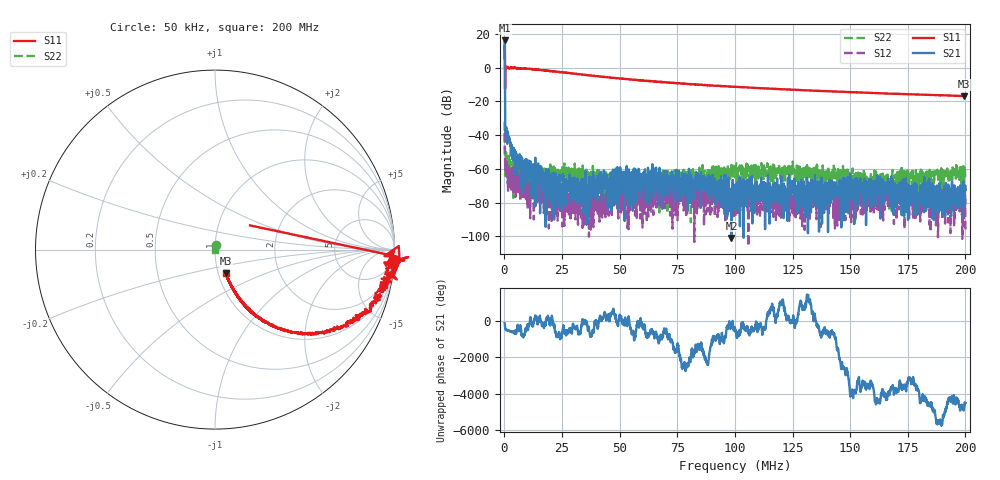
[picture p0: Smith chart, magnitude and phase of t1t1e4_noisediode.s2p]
! 12-May-26 12:29:11 PM
! E:\REC_VNA_20260512\T1T1E4_NOISEDIODE.S2P
! CHANNEL.1
! TR.MEASUREMENT
! CORRECTED.DATA
# GHZ S RI R 50.0
! FREQ.GHZ  S11RE  S11IM  S21RE  S21IM  S12RE  S12IM  S22RE  S22IM
!; PortSelection: Port_12
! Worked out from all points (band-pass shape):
!   2000 points, 50 kHz to 200 MHz, reference 50 ohm
!   highest |S21| = 16.16 dB at 150 kHz (marker M1); lowest = -100.9 dB at 98.47 MHz (marker M2)
!   |S21| within 3 dB of the highest: 121.6 kHz to 160 kHz (38.48 kHz wide, 27.3 % of centre)
!   lowest |S11| = -16.9 dB at 199.5 MHz (marker M3), VSWR 1.34, Z = 54.4 - j14.5 ohm
!   |S11| at or under -10 dB: 240.2 kHz to 269.8 kHz (29.62 kHz wide, 11.6 % of centre); 83.69122 MHz to 84.0596 MHz (368.4 kHz wide, 0.439 % of centre); 84.09 MHz to end of sweep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
!   |S22| runs from -91.6 to -32.0 dB; largest |S21 - S12| = 6.4
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5e-05  -2.393 -2.57  -1.166 -1.513  -0.00183 0.0114  0.0056 0.0245
0.000150025  1.512 -4.128  -0.3111 6.421  -0.00265 -0.00167  0.00654 -0.00197
0.001150275  1.054 -0.0618  -0.0055 -0.000287  -3.72e-05 -0.00108  0.000751 0.00123
0.0012503  0.9932 -0.0478  -0.0115 -0.00501  -0.000911 0.000191  0.00236 0.000688
0.006151526  0.9217 -0.2041  -0.00107 -5.5e-05  -0.000495 -0.000265  0.00106 -0.000378
0.02095523  0.6412 -0.4454  1.36e-05 -3.7e-05  7.13e-05 -1.85e-05  0.000437 0.000401
0.03345835  0.4291 -0.4581  6.79e-05 0.000123  5e-06 2.9e-05  0.000619 0.000771
0.04566141  0.2981 -0.4132  -3.5e-05 0.000147  0.000133 -7.78e-05  0.000508 -0.000102
0.04926231  0.2777 -0.4015  2.05e-05 5.87e-05  -5.56e-05 -5.78e-05  0.00035 4.38e-05
0.06676668  0.1879 -0.3329  6.26e-05 0.000129  5.02e-05 -0.000162  0.000342 5.5e-05
0.08147036  0.1476 -0.2876  3e-05 -0.000331  -4.23e-05 -8.15e-05  0.000963 5.4e-05
0.08387096  0.1394 -0.2824  -0.000727 0.000176  -0.000119 -0.000133  0.000534 0.000265
0.09847461  0.1182 -0.2479  8.9e-06 1.3e-06  4.43e-05 -0.000215  0.00112 0.000693
0.100075  0.1164 -0.2453  -6.76e-05 -0.000193  3.16e-05 7.64e-05  0.00077 0.000398
0.1333833  0.0857 -0.1912  0.000325 0.000137  0.000162 0.000144  -0.000217 0.000804
0.1577894  0.074 -0.1657  0.000157 -0.000172  0.000127 8e-05  0.000113 -0.000163
0.1607902  0.071 -0.1624  -0.000121 -0.000225  -4.43e-05 -0.000121  -0.00033 0.000135
0.1628907  0.072 -0.1603  -0.000219 0.000163  8.03e-05 5.64e-05  -0.000465 0.000306
0.1666917  0.0694 -0.1572  7.9e-06 0.000158  0.000175 -4.91e-05  -0.000437 -0.000133
0.1792948  0.0655 -0.1468  -0.000169 -9.33e-05  -2.1e-06 -0.000113  0.000304 -0.000454
0.1994999  0.0606 -0.1302  0.00013 -5.65e-05  8.03e-05 -8e-05  0.000614 -0.00112
0.2  0.06 -0.1306  -0.000235 4.43e-05  1.23e-05 4.5e-06  0.00054 -0.000177
